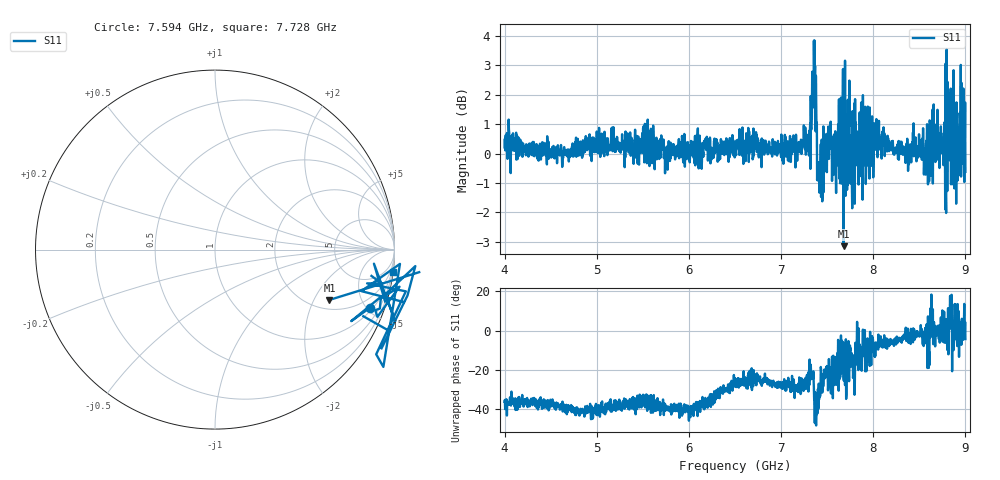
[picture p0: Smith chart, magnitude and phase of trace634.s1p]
! Created with skrf 1.8.0 (http://scikit-rf.org).
# Hz S RI R 50.0
!freq ReS11 ImS11
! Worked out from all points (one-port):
!   1601 points, 4 GHz to 9 GHz, reference 50 ohm
!   lowest |S11| = -3.1 dB at 7.678 GHz (marker M1), VSWR 5.59, Z = 123 - j134 ohm
!   |S11| at or under -10 dB: nowhere
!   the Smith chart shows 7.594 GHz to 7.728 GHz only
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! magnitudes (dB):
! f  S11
! 4 GHz  0.2
! 4.625 GHz  -0.5
! 5.25 GHz  0.1
! 5.875 GHz  0.0
! 6.5 GHz  0.1
! 7.125 GHz  0.1
! 7.294 GHz  0.6
! 7.356 GHz  3.8
! 7.381 GHz  1.8
! 7.409 GHz  -0.8
! 7.425 GHz  -0.4
! 7.525 GHz  0.2
! 7.591 GHz  -0.1
! 7.647 GHz  1.2
! 7.678 GHz  -3.1
! 7.75 GHz  -0.7
! 7.775 GHz  1.4
! 7.8 GHz  -1.7
! 7.891 GHz  0.2
! 8.375 GHz  0.3
! 8.522 GHz  0.2
! 8.584 GHz  1.0
! 8.662 GHz  0.8
! 8.766 GHz  0.7
! 8.819 GHz  0.5
! 8.869 GHz  0.1
! 8.972 GHz  0.9
! 9 GHz  -0.6
